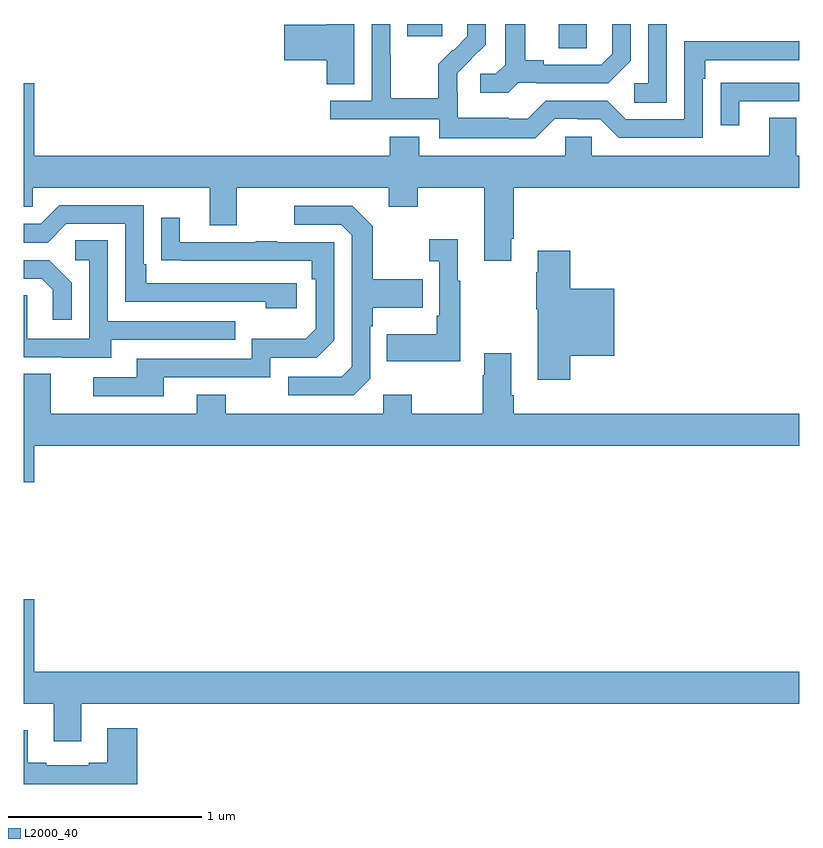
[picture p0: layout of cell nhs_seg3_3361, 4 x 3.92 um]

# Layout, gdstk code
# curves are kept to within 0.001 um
import gdstk
lib = gdstk.Library(unit=1e-6, precision=1e-09)
def R(c, l, rs):  # rectangles x0, y0, x1, y1
    for r in rs: c.add(gdstk.rectangle(r[:2], r[2:], *l))
def P(c, l, *ps):  # polygons
    for p in ps: c.add(gdstk.Polygon(p, *l))
L2000_40 = (2000, 40)

nhs_seg3_3361 = lib.new_cell('nhs_seg3_3361')
R(nhs_seg3_3361, L2000_40, [(287.759,728.275,287.904,728.4), (286.979,728.337,287.158,728.4)])
P(nhs_seg3_3361, L2000_40, [(287.55,728.097),(287.644,728.097),(287.644,728.094),(288.016,728.094),(288.132,728.21),(288.132,728.4),(288.035,728.4),(288.035,728.247),(287.978,728.19),(287.683,728.19),(287.683,728.213),(287.587,728.213),(287.587,728.4),(287.483,728.4),(287.483,728.189),(287.436,728.142),(287.355,728.142),(287.355,728.045),(287.498,728.045)],
  [(287.739,727.911),(287.855,727.911),(287.855,727.908),(287.973,727.908),(288.069,727.812),(288.504,727.812),(288.504,728.117),(288.517,728.117),(288.517,728.214),(289,728.214),(289,728.31),(288.408,728.31),(288.408,727.908),(288.105,727.908),(288.009,728.004),(287.694,728.004),(287.601,727.911),(287.501,727.911),(287.501,727.915),(287.238,727.915),(287.238,728.049),(287.236,728.049),(287.236,728.146),(287.382,728.294),(287.382,728.4),(287.288,728.4),(287.288,728.336),(287.217,728.265),(287.214,728.268),(287.137,728.191),(287.137,728.017),(286.893,728.017),(286.893,728.24),(286.89,728.24),(286.89,728.4),(286.794,728.4),(286.794,728.004),(286.581,728.004),(286.581,727.908),(287.142,727.908),(287.142,727.811),(287.639,727.811)],
  [(288.318,728.4),(288.222,728.4),(288.222,728.094),(288.15,728.094),(288.15,727.993),(288.318,727.993)],
  [(286.705,728.4),(286.562,728.4),(286.562,728.396),(286.344,728.396),(286.344,728.213),(286.562,728.213),(286.562,728.089),(286.705,728.089)],
  [(288.691,728.001),(289,728.001),(289,728.097),(288.697,728.097),(288.697,728.096),(288.595,728.096),(288.595,727.878),(288.691,727.878)],
  [(287.515,727.291),(287.528,727.291),(287.528,727.556),(289,727.556),(289,727.72),(288.985,727.72),(288.985,727.915),(288.845,727.915),(288.845,727.72),(287.931,727.72),(287.931,727.818),(287.793,727.818),(287.793,727.72),(287.041,727.72),(287.041,727.819),(286.889,727.819),(286.889,727.72),(285.052,727.72),(285.052,728.095),(285,728.095),(285,727.458),(285.045,727.458),(285.045,727.556),(285.959,727.556),(285.959,727.362),(286.099,727.362),(286.099,727.556),(286.883,727.556),(286.883,727.457),(287.031,727.457),(287.031,727.556),(287.375,727.556),(287.375,727.179),(287.515,727.179)],
  [(286.408,727.062),(285.631,727.062),(285.631,727.159),(285.618,727.159),(285.618,727.464),(285.183,727.464),(285.087,727.368),(285,727.368),(285,727.272),(285.123,727.272),(285.219,727.368),(285.522,727.368),(285.522,726.966),(286.247,726.966),(286.247,726.932),(286.408,726.932)],
  [(286.788,726.57),(286.788,726.839),(286.801,726.839),(286.801,726.935),(287.057,726.935),(287.057,727.083),(286.801,727.083),(286.801,727.355),(286.695,727.461),(286.395,727.461),(286.395,727.365),(286.638,727.365),(286.692,727.311),(286.692,726.63),(286.641,726.579),(286.365,726.579),(286.365,726.483),(286.701,726.483)],
  [(285.721,726.576),(286.272,726.576),(286.272,726.678),(286.512,726.678),(286.602,726.768),(286.602,727.275),(286.307,727.275),(286.307,727.28),(286.195,727.28),(286.195,727.275),(285.805,727.275),(285.805,727.399),(285.709,727.399),(285.709,727.18),(286.486,727.179),(286.486,727.082),(286.506,727.082),(286.506,726.828),(286.453,726.775),(286.176,726.775),(286.176,726.672),(285.581,726.672),(285.581,726.576),(285.357,726.576),(285.357,726.48),(285.721,726.48)],
  [(287.251,727.075),(287.239,727.075),(287.239,727.288),(287.091,727.288),(287.091,727.175),(287.142,727.175),(287.142,726.895),(287.13,726.895),(287.13,726.799),(286.873,726.799),(286.873,726.659),(287.251,726.659)],
  [(285.451,726.771),(286.091,726.771),(286.091,726.867),(285.432,726.867),(285.432,727.283),(285.264,727.283),(285.264,727.182),(285.336,727.182),(285.336,726.777),(285.018,726.777),(285.018,727.001),(285,727.001),(285,726.681),(285.197,726.681),(285.197,726.677),(285.451,726.677)],
  [(287.819,726.689),(288.046,726.689),(288.046,727.033),(287.819,727.033),(287.819,727.231),(287.651,727.231),(287.651,727.118),(287.644,727.118),(287.644,726.929),(287.651,726.929),(287.651,726.564),(287.819,726.564)],
  [(285.246,727.066),(285.13,727.182),(285,727.182),(285,727.086),(285.092,727.086),(285.149,727.029),(285.149,726.873),(285.246,726.873)],
  [(285.052,726.224),(289,726.224),(289,726.388),(287.528,726.388),(287.528,726.484),(287.515,726.484),(287.515,726.7),(287.375,726.7),(287.375,726.587),(287.368,726.587),(287.368,726.388),(287.001,726.388),(287.001,726.487),(286.854,726.487),(286.854,726.388),(286.041,726.388),(286.041,726.487),(285.893,726.487),(285.893,726.388),(285.139,726.388),(285.139,726.596),(285,726.596),(285,726.036),(285.052,726.036)],
  [(285.295,724.892),(289,724.892),(289,725.056),(285.052,725.056),(285.052,725.431),(285,725.431),(285,724.892),(285.155,724.892),(285.155,724.698),(285.295,724.698)],
  [(285.584,724.765),(285.431,724.765),(285.431,724.588),(285.335,724.588),(285.335,724.575),(285.115,724.575),(285.115,724.588),(285.019,724.588),(285.019,724.756),(285,724.756),(285,724.478),(285.584,724.478)])

lib.write_gds('nhs_seg3_3361.gds')
